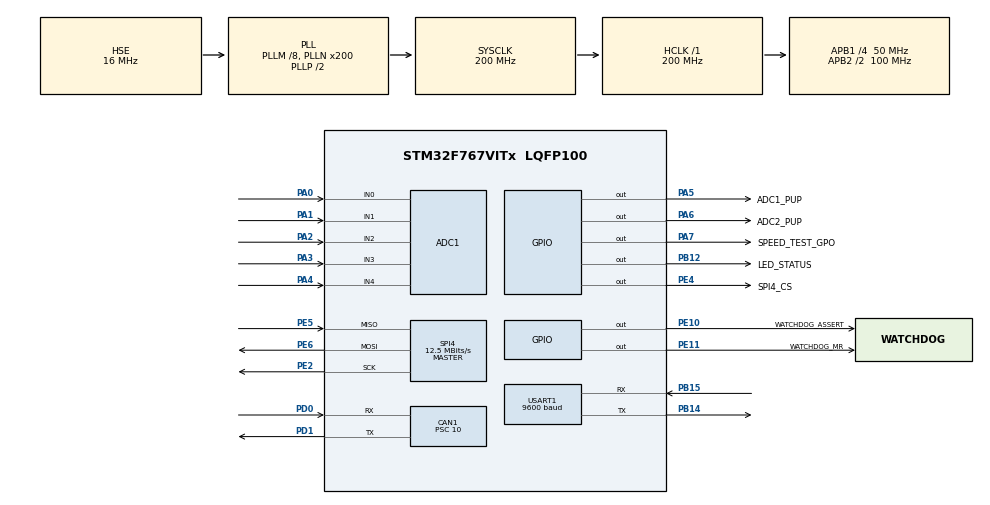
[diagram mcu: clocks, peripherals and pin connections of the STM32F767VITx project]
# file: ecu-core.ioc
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Mcu.Family=STM32F7
CAN1.NART=ENABLE
RCC.CortexFreq_Value=200000000
SPI4.VirtualType=VM_MASTER
ADC1.ContinuousConvMode=ENABLE
Dma.USART1_TX.3.MemInc=DMA_MINC_ENABLE
CAN1.AWUM=DISABLE
Dma.USART1_TX.3.MemDataAlignment=DMA_MDATAALIGN_BYTE
PE11.GPIO_Label=WATCHDOG_MR
USART1.BaudRate=9600
SH.ADCx_IN2.0=ADC1_IN2,IN2
Dma.USART1_RX.2.Instance=DMA2_Stream2
Dma.USART1_TX.3.Direction=DMA_MEMORY_TO_PERIPH
SPI4.Direction=SPI_DIRECTION_2LINES
Dma.SPI4_RX.1.MemDataAlignment=DMA_MDATAALIGN_BYTE
VP_RTC_VS_RTC_Activate.Mode=RTC_Enabled
PA0/WKUP.Signal=ADCx_IN0
PA6.GPIO_Label=ADC2_PUP
PB15.Signal=USART1_RX
RCC.SYSCLKSource=RCC_SYSCLKSOURCE_PLLCLK
ProjectManager.StackSize=0x400
NVIC.SPI4_IRQn=true\:6\:0\:true\:false\:true\:true\:true
Dma.USART1_TX.3.FIFOMode=DMA_FIFOMODE_DISABLE
SPI4.Mode=SPI_MODE_MASTER
ADC1.Channel-3\#ChannelRegularConversion=ADC_CHANNEL_3
PH0/OSC_IN.Mode=HSE-External-Oscillator
Dma.SPI4_RX.1.PeriphDataAlignment=DMA_PDATAALIGN_BYTE
RCC.HCLKFreq_Value=200000000
SH.ADCx_IN3.0=ADC1_IN3,IN3
PE2.Mode=Full_Duplex_Master
RCC.APB2TimFreq_Value=200000000
Dma.ADC1.0.Direction=DMA_PERIPH_TO_MEMORY
ADC1.Channel-2\#ChannelRegularConversion=ADC_CHANNEL_2
Dma.USART1_TX.3.Mode=DMA_NORMAL
PH1/OSC_OUT.Signal=RCC_OSC_OUT
PD0.Signal=CAN1_RX
NVIC.DMA2_Stream0_IRQn=true\:0\:0\:false\:false\:true\:false\:true
PE5.Signal=SPI4_MISO
Dma.ADC1.0.MemDataAlignment=DMA_MDATAALIGN_HALFWORD
RCC.AHBFreq_Value=200000000
ADC1.Channel-0\#ChannelRegularConversion=ADC_CHANNEL_0
RCC.HSE_VALUE=16000000
PB3.Mode=Trace_Asynchronous_SW
Dma.SPI4_RX.1.Mode=DMA_NORMAL
CAN1.RFLM=DISABLE
PB12.GPIO_Label=LED_STATUS
ADC1.SamplingTime-4\#ChannelRegularConversion=ADC_SAMPLETIME_480CYCLES
ADC1.Rank-2\#ChannelRegularConversion=3
PA14.Mode=Trace_Asynchronous_SW
PB14.Mode=Asynchronous
VP_SYS_VS_tim1.Mode=TIM1
Dma.ADC1.0.PeriphInc=DMA_PINC_DISABLE
Dma.USART1_TX.3.PeriphInc=DMA_PINC_DISABLE
NVIC.TIM2_IRQn=true\:5\:0\:true\:false\:true\:true\:true
PE4.GPIO_Label=SPI4_CS
PE2.Signal=SPI4_SCK
Dma.SPI4_RX.1.Instance=DMA2_Stream3
SH.ADCx_IN0.0=ADC1_IN0,IN0
PE10.Signal=GPIO_Output
PH1/OSC_OUT.Mode=HSE-External-Oscillator
PE4.Signal=GPIO_Output
SPI4.BaudRatePrescaler=SPI_BAUDRATEPRESCALER_8
ADC1.SamplingTime-0\#ChannelRegularConversion=ADC_SAMPLETIME_480CYCLES
Dma.USART1_TX.3.Instance=DMA2_Stream7
CAN1.Prescaler=10
Mcu.Package=LQFP100
TIM2.Prescaler=999
PA6.Signal=GPIO_Output
NVIC.DMA2_Stream7_IRQn=true\:0\:0\:false\:false\:true\:false\:true
CAN1.TTCM=DISABLE
NVIC.TimeBase=TIM1_UP_TIM10_IRQn
NVIC.TimeBaseIP=TIM1
RCC.APB2CLKDivider=RCC_HCLK_DIV2
SH.ADCx_IN1.0=ADC1_IN1,IN1
NVIC.DMA2_Stream2_IRQn=true\:0\:0\:false\:false\:true\:false\:true
Dma.Request2=USART1_RX
Dma.Request1=SPI4_RX
RCC.APB1TimFreq_Value=100000000
Dma.Request3=USART1_TX
Dma.ADC1.0.FIFOMode=DMA_FIFOMODE_DISABLE
NVIC.USART1_IRQn=true\:6\:0\:true\:false\:true\:true\:true
PE10.GPIO_Label=WATCHDOG_ASSERT
Dma.Request0=ADC1
Dma.USART1_RX.2.MemDataAlignment=DMA_MDATAALIGN_BYTE
ADC1.Rank-4\#ChannelRegularConversion=5
PA3.Signal=ADCx_IN3
CAN1.CalculateTimeQuantum=200.0
RCC.PLLSourceVirtual=RCC_PLLSOURCE_HSE
Dma.ADC1.0.Instance=DMA2_Stream0
ADC1.Rank-0\#ChannelRegularConversion=1
ADC1.Channel-4\#ChannelRegularConversion=ADC_CHANNEL_4
CAN1.TXFP=DISABLE
SPI4.DataSize=SPI_DATASIZE_8BIT
PD1.Signal=CAN1_TX
RCC.APB1CLKDivider=RCC_HCLK_DIV4
Dma.USART1_RX.2.PeriphInc=DMA_PINC_DISABLE
ADC1.SamplingTime-2\#ChannelRegularConversion=ADC_SAMPLETIME_480CYCLES
Dma.SPI4_RX.1.FIFOMode=DMA_FIFOMODE_DISABLE
USART1.VirtualMode-Asynchronous=VM_ASYNC
PA13.Signal=SYS_JTMS-SWDIO
Dma.ADC1.0.PeriphDataAlignment=DMA_PDATAALIGN_HALFWORD
Dma.SPI4_RX.1.PeriphInc=DMA_PINC_DISABLE
CAN1.BS1=CAN_BS1_8TQ
ProjectManager.TargetToolchain=STM32CubeIDE
Dma.ADC1.0.Mode=DMA_CIRCULAR
Dma.USART1_RX.2.Mode=DMA_CIRCULAR
Dma.USART1_RX.2.PeriphDataAlignment=DMA_PDATAALIGN_BYTE
Dma.ADC1.0.Priority=DMA_PRIORITY_LOW
Dma.USART1_TX.3.PeriphDataAlignment=DMA_PDATAALIGN_BYTE
ADC1.Channel-1\#ChannelRegularConversion=ADC_CHANNEL_1
RCC.USBFreq_Value=200000000
NVIC.DMA2_Stream3_IRQn=true\:0\:0\:false\:false\:true\:false\:true
PE11.Signal=GPIO_Output
RCC.LSE_VALUE=32768
PA1.Signal=ADCx_IN1
CAN1.ABOM=DISABLE
PB14.Signal=USART1_TX
PA5.Signal=GPIO_Output
board=custom
Dma.USART1_RX.2.FIFOMode=DMA_FIFOMODE_DISABLE
RCC.VCOOutputFreq_Value=400000000
PB15.Mode=Asynchronous
PD1.Mode=Master
Dma.USART1_RX.2.Priority=DMA_PRIORITY_LOW
PH0/OSC_IN.Signal=RCC_OSC_IN
RCC.APB2Freq_Value=100000000
Dma.USART1_RX.2.Direction=DMA_PERIPH_TO_MEMORY
PE6.Mode=Full_Duplex_Master
VP_TIM2_VS_ClockSourceINT.Mode=Internal
PE5.Mode=Full_Duplex_Master
SH.ADCx_IN4.0=ADC1_IN4,IN4
Dma.SPI4_RX.1.Direction=DMA_PERIPH_TO_MEMORY
SPI4.CalculateBaudRate=12.5 MBits/s
ADC1.DMAContinuousRequests=ENABLE
TIM2.Period=99
PE6.Signal=SPI4_MOSI
ADC1.NbrOfConversion=5
PA13.Mode=Trace_Asynchronous_SW
Mcu.Name=STM32F767VITx
Dma.USART1_RX.2.MemInc=DMA_MINC_ENABLE
PD0.Mode=Master
PA2.Signal=ADCx_IN2
Dma.USART1_TX.3.Priority=DMA_PRIORITY_LOW
CAN1.SJW=CAN_SJW_1TQ
PB3.Signal=SYS_JTDO-SWO
PA4.Signal=ADCx_IN4
ADC1.SamplingTime-1\#ChannelRegularConversion=ADC_SAMPLETIME_480CYCLES
RCC.SYSCLKFreq_VALUE=200000000
PA7.GPIO_Label=SPEED_TEST_GPO
ADC1.master=1
PA5.GPIO_Label=ADC1_PUP
ADC1.Rank-3\#ChannelRegularConversion=4
ADC1.SamplingTime-3\#ChannelRegularConversion=ADC_SAMPLETIME_480CYCLES
Dma.SPI4_RX.1.Priority=DMA_PRIORITY_LOW
Dma.SPI4_RX.1.MemInc=DMA_MINC_ENABLE
ADC1.Rank-1\#ChannelRegularConversion=2
PA14.Signal=SYS_JTCK-SWCLK
Dma.ADC1.0.MemInc=DMA_MINC_ENABLE
ProjectManager.HeapSize=0x200
NVIC.TIM1_UP_TIM10_IRQn=true\:0\:0\:false\:false\:true\:false\:true
RCC.HSI_VALUE=16000000
NVIC.PriorityGroup=NVIC_PRIORITYGROUP_4
ADC1.NbrOfConversionFlag=1
RCC.PLLM=8
RCC.PLLN=200
TIM2.AutoReloadPreload=TIM_AUTORELOAD_PRELOAD_ENABLE
RCC.APB1Freq_Value=50000000
PB12.Signal=GPIO_Output
NVIC.CAN1_RX0_IRQn=true\:6\:0\:true\:false\:true\:true\:true
PA7.Signal=GPIO_Output

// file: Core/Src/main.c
/* USER CODE BEGIN Header */
/**
  ******************************************************************************
  * @file           : main.c
  * @brief          : Main program body
  ******************************************************************************
  * @attention
  *
  * <h2><center>&copy; Copyright (c) 2020 STMicroelectronics.
  * All rights reserved.</center></h2>
  *
  * This software component is licensed by ST under BSD 3-Clause license,
  * the "License"; You may not use this file except in compliance with the
  * License. You may obtain a copy of the License at:
  *                        opensource.org/licenses/BSD-3-Clause
  *
  ******************************************************************************
  */
/* USER CODE END Header */
#include "main.h"

/* USER CODE BEGIN Includes */
#include <stdio.h>
#include <stdbool.h>
#include "FreeRTOS.h"
#include "task.h"

#include "initialize.h"

#include "time/tasktimer/tasktimer.h" /* Used for timer callback ISR */
/* USER CODE END Includes */

/* USER CODE BEGIN PD */
static bool isInitialized;
/* USER CODE END PD */

ADC_HandleTypeDef hadc1;
DMA_HandleTypeDef hdma_adc1;

CAN_HandleTypeDef hcan1;

RTC_HandleTypeDef hrtc;

SPI_HandleTypeDef hspi4;
DMA_HandleTypeDef hdma_spi4_rx;

TIM_HandleTypeDef htim2;

UART_HandleTypeDef huart1;
DMA_HandleTypeDef hdma_usart1_rx;
DMA_HandleTypeDef hdma_usart1_tx;

void SystemClock_Config(void);
static void MX_GPIO_Init(void);
static void MX_DMA_Init(void);
static void MX_CAN1_Init(void);
static void MX_ADC1_Init(void);
static void MX_SPI4_Init(void);
static void MX_TIM2_Init(void);
static void MX_USART1_UART_Init(void);
static void MX_RTC_Init(void);

/* USER CODE BEGIN 0 */
// TODO: move this somewhere appropriate
int _write(int file, char *ptr, int len)
{
  /* Implement your write code here, this is used by puts and printf for example */
  int i=0;
  for(i=0 ; i<len ; i++)
    ITM_SendChar((*ptr++));
  return len;
}

/* USER CODE END 0 */

int main(void)
{
  /* USER CODE BEGIN 1 */
  isInitialized = false;

  /* USER CODE END 1 */

  /* MCU Configuration--------------------------------------------------------*/

  /* Reset of all peripherals, Initializes the Flash interface and the Systick. */
  HAL_Init();

  /* Configure the system clock */
  SystemClock_Config();

  /* USER CODE BEGIN SysInit */
  // Disable interrupts while hardware initializes before the RTOS starts up
  // (once the hardware initializes, interrupts will invoke RTOS calls - prevent this)
  portDISABLE_INTERRUPTS();
  /* USER CODE END SysInit */

  /* Initialize all configured peripherals */
  MX_GPIO_Init();
  MX_DMA_Init();
  MX_CAN1_Init();
  MX_ADC1_Init();
  MX_SPI4_Init();
  MX_TIM2_Init();
  MX_USART1_UART_Init();
  MX_RTC_Init();
  /* USER CODE BEGIN 2 */

  printf("\n");
  printf("Main initialize...\n");
  ECU_Init_Status_T initStatus = ECU_Init();
  if (initStatus != ECU_INIT_OK) {
    printf("Initialization error, halting\n");
    Error_Handler();
  }

  isInitialized = true;

  // start RTOS
  printf("Starting scheduler...\n");
  vTaskStartScheduler();

  /* USER CODE END 2 */

  /* Infinite loop */
  while (1)
  {

  }
}

void SystemClock_Config(void)
{
  RCC_OscInitTypeDef RCC_OscInitStruct = {0};
  RCC_ClkInitTypeDef RCC_ClkInitStruct = {0};
  RCC_PeriphCLKInitTypeDef PeriphClkInitStruct = {0};

  /** Configure the main internal regulator output voltage
  */
  __HAL_RCC_PWR_CLK_ENABLE();
  __HAL_PWR_VOLTAGESCALING_CONFIG(PWR_REGULATOR_VOLTAGE_SCALE1);
  /** Initializes the RCC Oscillators according to the specified parameters
  * in the RCC_OscInitTypeDef structure.
  */
  RCC_OscInitStruct.OscillatorType = RCC_OSCILLATORTYPE_LSI|RCC_OSCILLATORTYPE_HSE;
  RCC_OscInitStruct.HSEState = RCC_HSE_ON;
  RCC_OscInitStruct.LSIState = RCC_LSI_ON;
  RCC_OscInitStruct.PLL.PLLState = RCC_PLL_ON;
  RCC_OscInitStruct.PLL.PLLSource = RCC_PLLSOURCE_HSE;
  RCC_OscInitStruct.PLL.PLLM = 8;
  RCC_OscInitStruct.PLL.PLLN = 200;
  RCC_OscInitStruct.PLL.PLLP = RCC_PLLP_DIV2;
  RCC_OscInitStruct.PLL.PLLQ = 2;
  if (HAL_RCC_OscConfig(&RCC_OscInitStruct) != HAL_OK)
  {
    Error_Handler();
  }
  /** Activate the Over-Drive mode
  */
  if (HAL_PWREx_EnableOverDrive() != HAL_OK)
  {
    Error_Handler();
  }
  /** Initializes the CPU, AHB and APB buses clocks
  */
  RCC_ClkInitStruct.ClockType = RCC_CLOCKTYPE_HCLK|RCC_CLOCKTYPE_SYSCLK
                              |RCC_CLOCKTYPE_PCLK1|RCC_CLOCKTYPE_PCLK2;
  RCC_ClkInitStruct.SYSCLKSource = RCC_SYSCLKSOURCE_PLLCLK;
  RCC_ClkInitStruct.AHBCLKDivider = RCC_SYSCLK_DIV1;
  RCC_ClkInitStruct.APB1CLKDivider = RCC_HCLK_DIV4;
  RCC_ClkInitStruct.APB2CLKDivider = RCC_HCLK_DIV2;

  if (HAL_RCC_ClockConfig(&RCC_ClkInitStruct, FLASH_LATENCY_6) != HAL_OK)
  {
    Error_Handler();
  }
  PeriphClkInitStruct.PeriphClockSelection = RCC_PERIPHCLK_RTC|RCC_PERIPHCLK_USART1;
  PeriphClkInitStruct.RTCClockSelection = RCC_RTCCLKSOURCE_LSI;
  PeriphClkInitStruct.Usart1ClockSelection = RCC_USART1CLKSOURCE_PCLK2;
  if (HAL_RCCEx_PeriphCLKConfig(&PeriphClkInitStruct) != HAL_OK)
  {
    Error_Handler();
  }
}

static void MX_ADC1_Init(void)
{

  ADC_ChannelConfTypeDef sConfig = {0};

  /** Configure the global features of the ADC (Clock, Resolution, Data Alignment and number of conversion)
  */
  hadc1.Instance = ADC1;
  hadc1.Init.ClockPrescaler = ADC_CLOCK_SYNC_PCLK_DIV4;
  hadc1.Init.Resolution = ADC_RESOLUTION_12B;
  hadc1.Init.ScanConvMode = ADC_SCAN_ENABLE;
  hadc1.Init.ContinuousConvMode = ENABLE;
  hadc1.Init.DiscontinuousConvMode = DISABLE;
  hadc1.Init.ExternalTrigConvEdge = ADC_EXTERNALTRIGCONVEDGE_NONE;
  hadc1.Init.ExternalTrigConv = ADC_SOFTWARE_START;
  hadc1.Init.DataAlign = ADC_DATAALIGN_RIGHT;
  hadc1.Init.NbrOfConversion = 5;
  hadc1.Init.DMAContinuousRequests = ENABLE;
  hadc1.Init.EOCSelection = ADC_EOC_SINGLE_CONV;
  if (HAL_ADC_Init(&hadc1) != HAL_OK)
  {
    Error_Handler();
  }
  /** Configure for the selected ADC regular channel its corresponding rank in the sequencer and its sample time.
  */
  sConfig.Channel = ADC_CHANNEL_0;
  sConfig.Rank = ADC_REGULAR_RANK_1;
  sConfig.SamplingTime = ADC_SAMPLETIME_480CYCLES;
  if (HAL_ADC_ConfigChannel(&hadc1, &sConfig) != HAL_OK)
  {
    Error_Handler();
  }
  /** Configure for the selected ADC regular channel its corresponding rank in the sequencer and its sample time.
  */
  sConfig.Channel = ADC_CHANNEL_1;
  sConfig.Rank = ADC_REGULAR_RANK_2;
  if (HAL_ADC_ConfigChannel(&hadc1, &sConfig) != HAL_OK)
  {
    Error_Handler();
  }
  /** Configure for the selected ADC regular channel its corresponding rank in the sequencer and its sample time.
  */
  sConfig.Channel = ADC_CHANNEL_2;
  sConfig.Rank = ADC_REGULAR_RANK_3;
  if (HAL_ADC_ConfigChannel(&hadc1, &sConfig) != HAL_OK)
  {
    Error_Handler();
  }
  /** Configure for the selected ADC regular channel its corresponding rank in the sequencer and its sample time.
  */
  sConfig.Channel = ADC_CHANNEL_3;
  sConfig.Rank = ADC_REGULAR_RANK_4;
  if (HAL_ADC_ConfigChannel(&hadc1, &sConfig) != HAL_OK)
  {
    Error_Handler();
  }
  /** Configure for the selected ADC regular channel its corresponding rank in the sequencer and its sample time.
  */
  sConfig.Channel = ADC_CHANNEL_4;
  sConfig.Rank = ADC_REGULAR_RANK_5;
  if (HAL_ADC_ConfigChannel(&hadc1, &sConfig) != HAL_OK)
  {
    Error_Handler();
  }

}

static void MX_CAN1_Init(void)
{

  hcan1.Instance = CAN1;
  hcan1.Init.Prescaler = 10;
  hcan1.Init.Mode = CAN_MODE_NORMAL;
  hcan1.Init.SyncJumpWidth = CAN_SJW_1TQ;
  hcan1.Init.TimeSeg1 = CAN_BS1_8TQ;
  hcan1.Init.TimeSeg2 = CAN_BS2_1TQ;
  hcan1.Init.TimeTriggeredMode = DISABLE;
  hcan1.Init.AutoBusOff = DISABLE;
  hcan1.Init.AutoWakeUp = DISABLE;
  hcan1.Init.AutoRetransmission = ENABLE;
  hcan1.Init.ReceiveFifoLocked = DISABLE;
  hcan1.Init.TransmitFifoPriority = DISABLE;
  if (HAL_CAN_Init(&hcan1) != HAL_OK)
  {
    Error_Handler();
  }

}

static void MX_RTC_Init(void)
{

  /** Initialize RTC Only
  */
  hrtc.Instance = RTC;
  hrtc.Init.HourFormat = RTC_HOURFORMAT_24;
  hrtc.Init.AsynchPrediv = 127;
  hrtc.Init.SynchPrediv = 255;
  hrtc.Init.OutPut = RTC_OUTPUT_DISABLE;
  hrtc.Init.OutPutPolarity = RTC_OUTPUT_POLARITY_HIGH;
  hrtc.Init.OutPutType = RTC_OUTPUT_TYPE_OPENDRAIN;
  if (HAL_RTC_Init(&hrtc) != HAL_OK)
  {
    Error_Handler();
  }

}

static void MX_SPI4_Init(void)
{

  /* SPI4 parameter configuration*/
  hspi4.Instance = SPI4;
  hspi4.Init.Mode = SPI_MODE_MASTER;
  hspi4.Init.Direction = SPI_DIRECTION_2LINES;
  hspi4.Init.DataSize = SPI_DATASIZE_8BIT;
  hspi4.Init.CLKPolarity = SPI_POLARITY_LOW;
  hspi4.Init.CLKPhase = SPI_PHASE_1EDGE;
  hspi4.Init.NSS = SPI_NSS_SOFT;
  hspi4.Init.BaudRatePrescaler = SPI_BAUDRATEPRESCALER_8;
  hspi4.Init.FirstBit = SPI_FIRSTBIT_MSB;
  hspi4.Init.TIMode = SPI_TIMODE_DISABLE;
  hspi4.Init.CRCCalculation = SPI_CRCCALCULATION_DISABLE;
  hspi4.Init.CRCPolynomial = 7;
  hspi4.Init.CRCLength = SPI_CRC_LENGTH_DATASIZE;
  hspi4.Init.NSSPMode = SPI_NSS_PULSE_ENABLE;
  if (HAL_SPI_Init(&hspi4) != HAL_OK)
  {
    Error_Handler();
  }

}

static void MX_TIM2_Init(void)
{

  TIM_ClockConfigTypeDef sClockSourceConfig = {0};
  TIM_MasterConfigTypeDef sMasterConfig = {0};

  htim2.Instance = TIM2;
  htim2.Init.Prescaler = 999;
  htim2.Init.CounterMode = TIM_COUNTERMODE_UP;
  htim2.Init.Period = 99;
  htim2.Init.ClockDivision = TIM_CLOCKDIVISION_DIV1;
  htim2.Init.AutoReloadPreload = TIM_AUTORELOAD_PRELOAD_ENABLE;
  if (HAL_TIM_Base_Init(&htim2) != HAL_OK)
  {
    Error_Handler();
  }
  sClockSourceConfig.ClockSource = TIM_CLOCKSOURCE_INTERNAL;
  if (HAL_TIM_ConfigClockSource(&htim2, &sClockSourceConfig) != HAL_OK)
  {
    Error_Handler();
  }
  sMasterConfig.MasterOutputTrigger = TIM_TRGO_RESET;
  sMasterConfig.MasterSlaveMode = TIM_MASTERSLAVEMODE_DISABLE;
  if (HAL_TIMEx_MasterConfigSynchronization(&htim2, &sMasterConfig) != HAL_OK)
  {
    Error_Handler();
  }

}

static void MX_USART1_UART_Init(void)
{

  huart1.Instance = USART1;
  huart1.Init.BaudRate = 9600;
  huart1.Init.WordLength = UART_WORDLENGTH_8B;
  huart1.Init.StopBits = UART_STOPBITS_1;
  huart1.Init.Parity = UART_PARITY_NONE;
  huart1.Init.Mode = UART_MODE_TX_RX;
  huart1.Init.HwFlowCtl = UART_HWCONTROL_NONE;
  huart1.Init.OverSampling = UART_OVERSAMPLING_16;
  huart1.Init.OneBitSampling = UART_ONE_BIT_SAMPLE_DISABLE;
  huart1.AdvancedInit.AdvFeatureInit = UART_ADVFEATURE_NO_INIT;
  if (HAL_UART_Init(&huart1) != HAL_OK)
  {
    Error_Handler();
  }

}

static void MX_DMA_Init(void)
{

  /* DMA controller clock enable */
  __HAL_RCC_DMA2_CLK_ENABLE();

  /* DMA interrupt init */
  /* DMA2_Stream0_IRQn interrupt configuration */
  HAL_NVIC_SetPriority(DMA2_Stream0_IRQn, 0, 0);
  HAL_NVIC_EnableIRQ(DMA2_Stream0_IRQn);
  /* DMA2_Stream2_IRQn interrupt configuration */
  HAL_NVIC_SetPriority(DMA2_Stream2_IRQn, 0, 0);
  HAL_NVIC_EnableIRQ(DMA2_Stream2_IRQn);
  /* DMA2_Stream3_IRQn interrupt configuration */
  HAL_NVIC_SetPriority(DMA2_Stream3_IRQn, 0, 0);
  HAL_NVIC_EnableIRQ(DMA2_Stream3_IRQn);
  /* DMA2_Stream7_IRQn interrupt configuration */
  HAL_NVIC_SetPriority(DMA2_Stream7_IRQn, 0, 0);
  HAL_NVIC_EnableIRQ(DMA2_Stream7_IRQn);

}

static void MX_GPIO_Init(void)
{
  GPIO_InitTypeDef GPIO_InitStruct = {0};

  /* GPIO Ports Clock Enable */
  __HAL_RCC_GPIOE_CLK_ENABLE();
  __HAL_RCC_GPIOH_CLK_ENABLE();
  __HAL_RCC_GPIOA_CLK_ENABLE();
  __HAL_RCC_GPIOB_CLK_ENABLE();
  __HAL_RCC_GPIOD_CLK_ENABLE();

  /*Configure GPIO pin Output Level */
  HAL_GPIO_WritePin(GPIOE, SPI4_CS_Pin|WATCHDOG_ASSERT_Pin|WATCHDOG_MR_Pin, GPIO_PIN_RESET);

  /*Configure GPIO pin Output Level */
  HAL_GPIO_WritePin(GPIOA, ADC1_PUP_Pin|ADC2_PUP_Pin|SPEED_TEST_GPO_Pin, GPIO_PIN_RESET);

  /*Configure GPIO pin Output Level */
  HAL_GPIO_WritePin(LED_STATUS_GPIO_Port, LED_STATUS_Pin, GPIO_PIN_RESET);

  /*Configure GPIO pins : SPI4_CS_Pin WATCHDOG_ASSERT_Pin WATCHDOG_MR_Pin */
  GPIO_InitStruct.Pin = SPI4_CS_Pin|WATCHDOG_ASSERT_Pin|WATCHDOG_MR_Pin;
  GPIO_InitStruct.Mode = GPIO_MODE_OUTPUT_PP;
  GPIO_InitStruct.Pull = GPIO_NOPULL;
  GPIO_InitStruct.Speed = GPIO_SPEED_FREQ_LOW;
  HAL_GPIO_Init(GPIOE, &GPIO_InitStruct);

  /*Configure GPIO pins : ADC1_PUP_Pin ADC2_PUP_Pin SPEED_TEST_GPO_Pin */
  GPIO_InitStruct.Pin = ADC1_PUP_Pin|ADC2_PUP_Pin|SPEED_TEST_GPO_Pin;
  GPIO_InitStruct.Mode = GPIO_MODE_OUTPUT_PP;
  GPIO_InitStruct.Pull = GPIO_NOPULL;
  GPIO_InitStruct.Speed = GPIO_SPEED_FREQ_LOW;
  HAL_GPIO_Init(GPIOA, &GPIO_InitStruct);

  /*Configure GPIO pin : LED_STATUS_Pin */
  GPIO_InitStruct.Pin = LED_STATUS_Pin;
  GPIO_InitStruct.Mode = GPIO_MODE_OUTPUT_PP;
  GPIO_InitStruct.Pull = GPIO_NOPULL;
  GPIO_InitStruct.Speed = GPIO_SPEED_FREQ_LOW;
  HAL_GPIO_Init(LED_STATUS_GPIO_Port, &GPIO_InitStruct);

}

void HAL_TIM_PeriodElapsedCallback(TIM_HandleTypeDef *htim)
{
  if (htim->Instance == TIM1) {
    HAL_IncTick();
  }
  /* USER CODE BEGIN Callback 1 */

  // Advance the TaskTimer
  if (isInitialized) {
    TaskTimer_TIM_PeriodElapsedCallback(htim);
  }

  /* USER CODE END Callback 1 */
}

void Error_Handler(void)
{
	while (1)
	{
	}
}

/************************ (C) COPYRIGHT STMicroelectronics *****END OF FILE****/
